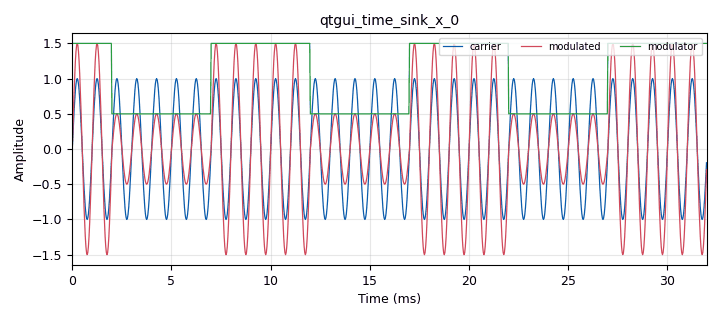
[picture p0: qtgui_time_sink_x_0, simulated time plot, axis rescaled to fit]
options:
  parameters:
    generate_options: qt_gui
    id: ask
    output_language: python
    title: ask
  states: {}

blocks:
- name: samp_rate
  id: variable
  parameters:
    value: '32000'
  states: {}
- name: analog_sig_source_x_0
  id: analog_sig_source_x
  parameters:
    amp: '1'
    freq: '1000'
    offset: '0'
    phase: '0'
    samp_rate: samp_rate
    type: float
    waveform: analog.GR_SIN_WAVE
  states: {}
- name: analog_sig_source_x_1
  id: analog_sig_source_x
  parameters:
    amp: '1'
    freq: '100'
    offset: '0'
    phase: '0'
    samp_rate: samp_rate
    type: float
    waveform: analog.GR_SQR_WAVE
  states: {}
- name: blocks_add_const_vxx_0
  id: blocks_add_const_vxx
  parameters:
    const: '0.5'
    type: float
  states: {}
- name: blocks_multiply_xx_0
  id: blocks_multiply_xx
  parameters:
    type: float
  states: {}
- name: blocks_throttle_0
  id: blocks_throttle
  parameters:
    samples_per_second: samp_rate
    type: float
  states: {}
- name: qtgui_time_sink_x_0
  id: qtgui_time_sink_x
  parameters:
    ctrlpanel: 'True'
    label1: carrier
    label2: modulated
    label3: modulator
    nconnections: '3'
    size: '1024'
    srate: samp_rate
    type: float
  states: {}

connections:
- [analog_sig_source_x_0, '0', blocks_multiply_xx_0, '0']
- [analog_sig_source_x_0, '0', qtgui_time_sink_x_0, '0']
- [analog_sig_source_x_1, '0', blocks_add_const_vxx_0, '0']
- [blocks_add_const_vxx_0, '0', blocks_multiply_xx_0, '1']
- [blocks_add_const_vxx_0, '0', qtgui_time_sink_x_0, '2']
- [blocks_multiply_xx_0, '0', blocks_throttle_0, '0']
- [blocks_throttle_0, '0', qtgui_time_sink_x_0, '1']

metadata:
  file_format: 1
